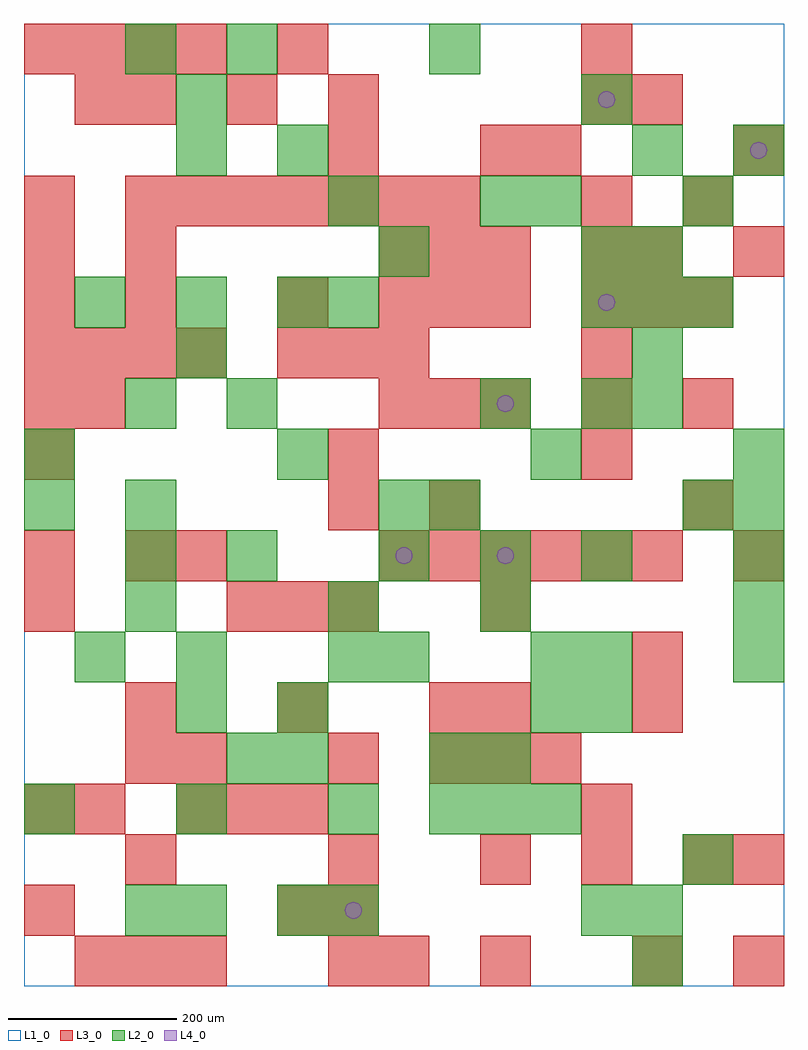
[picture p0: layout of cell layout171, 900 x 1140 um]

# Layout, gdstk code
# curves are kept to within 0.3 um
import gdstk
lib = gdstk.Library(unit=1e-6, precision=1e-09)
def R(c, l, rs):  # rectangles x0, y0, x1, y1
    for r in rs: c.add(gdstk.rectangle(r[:2], r[2:], *l))
def A(c, l, x, y, w, h, nx, ny, dx, dy):  # array of equal rectangles
    R(c, l, [(x+i*dx, y+j*dy, x+i*dx+w, y+j*dy+h) for i in range(nx) for j in range(ny)])
def P(c, l, *ps):  # polygons
    for p in ps: c.add(gdstk.Polygon(p, *l))
L1_0 = (1, 0)
L2_0 = (2, 0)
L3_0 = (3, 0)
L4_0 = (4, 0)

layout171 = lib.new_cell('layout171')
R(layout171, L1_0, [(0,0,900,1140)])
A(layout171, L2_0, 0, 180, 60, 60, 3, 1, 180, 0)
A(layout171, L2_0, 480, 180, 60, 60, 3, 1, 60, 0)
A(layout171, L2_0, 840, 360, 60, 60, 1, 5, 0, 60)
A(layout171, L2_0, 120, 420, 60, 60, 1, 3, 0, 60)
A(layout171, L2_0, 540, 420, 60, 60, 1, 3, 0, 240)
A(layout171, L2_0, 420, 480, 60, 60, 3, 1, 120, 0)
A(layout171, L2_0, 0, 600, 60, 60, 3, 1, 300, 0)
A(layout171, L2_0, 660, 660, 60, 60, 1, 3, 0, 180)
A(layout171, L2_0, 720, 720, 60, 60, 1, 3, 0, 120)
A(layout171, L2_0, 60, 780, 60, 60, 3, 1, 120, 0)
A(layout171, L2_0, 660, 780, 60, 60, 3, 1, 60, 0)
R(layout171, L2_0, [(720,0,780,60), (120,60,180,120), (180,60,240,120), (300,60,360,120), (360,60,420,120), (660,60,720,120), (720,60,780,120), (780,120,840,180), (240,240,300,300), (300,240,360,300), (480,240,540,300), (540,240,600,300), (180,300,240,360), (300,300,360,360), (600,300,660,360), (660,300,720,360), (60,360,120,420), (180,360,240,420), (360,360,420,420), (420,360,480,420), (600,360,660,420), (660,360,720,420), (360,420,420,480), (240,480,300,540), (0,540,60,600), (420,540,480,600), (480,540,540,600), (780,540,840,600), (120,660,180,720), (240,660,300,720), (720,660,780,720), (180,720,240,780), (360,780,420,840), (420,840,480,900), (360,900,420,960), (600,900,660,960), (780,900,840,960), (180,960,240,1020), (300,960,360,1020), (840,960,900,1020), (180,1020,240,1080), (120,1080,180,1140), (240,1080,300,1140), (480,1080,540,1140)])
A(layout171, L3_0, 60, 0, 60, 60, 3, 1, 60, 0)
A(layout171, L3_0, 360, 0, 60, 60, 1, 3, 0, 60)
A(layout171, L3_0, 540, 120, 60, 60, 3, 1, 120, 0)
A(layout171, L3_0, 840, 120, 60, 60, 1, 3, 0, 360)
A(layout171, L3_0, 180, 180, 60, 60, 3, 1, 60, 0)
A(layout171, L3_0, 480, 240, 60, 60, 3, 1, 60, 0)
A(layout171, L3_0, 120, 300, 60, 60, 3, 1, 180, 0)
A(layout171, L3_0, 240, 420, 60, 60, 3, 1, 60, 0)
A(layout171, L3_0, 420, 480, 60, 60, 6, 1, 60, 0)
A(layout171, L3_0, 660, 600, 60, 60, 1, 3, 0, 60)
A(layout171, L3_0, 420, 660, 60, 60, 3, 2, 60, 120)
A(layout171, L3_0, 0, 720, 60, 60, 4, 2, 60, 360)
A(layout171, L3_0, 300, 720, 60, 60, 3, 1, 60, 0)
A(layout171, L3_0, 0, 780, 60, 60, 1, 3, 0, 60)
A(layout171, L3_0, 660, 780, 60, 60, 3, 1, 60, 0)
A(layout171, L3_0, 420, 840, 60, 60, 3, 1, 60, 0)
A(layout171, L3_0, 120, 900, 60, 60, 7, 1, 60, 0)
A(layout171, L3_0, 120, 1020, 60, 60, 3, 1, 120, 0)
R(layout171, L3_0, [(420,0,480,60), (540,0,600,60), (720,0,780,60), (840,0,900,60), (0,60,60,120), (300,60,360,120), (120,120,180,180), (0,180,60,240), (60,180,120,240), (660,180,720,240), (120,240,180,300), (180,240,240,300), (360,240,420,300), (540,300,600,360), (720,300,780,360), (720,360,780,420), (0,420,60,480), (540,420,600,480), (0,480,60,540), (120,480,180,540), (180,480,240,540), (360,540,420,600), (480,540,540,600), (780,540,840,600), (0,600,60,660), (360,600,420,660), (0,660,60,720), (60,660,120,720), (780,660,840,720), (120,780,180,840), (300,780,360,840), (120,840,180,900), (660,840,720,900), (720,840,780,900), (660,900,720,960), (780,900,840,960), (360,960,420,1020), (540,960,600,1020), (600,960,660,1020), (840,960,900,1020), (60,1020,120,1080), (660,1020,720,1080), (720,1020,780,1080), (300,1080,360,1140), (660,1080,720,1140)])
P(layout171, L4_0, [(400,90),(399.239,93.827),(397.071,97.071),(393.827,99.239),(390,100),(386.173,99.239),(382.929,97.071),(380.761,93.827),(380,90),(380.761,86.173),(382.929,82.929),(386.173,80.761),(390,80),(393.827,80.761),(397.071,82.929),(399.239,86.173)],
  [(460,510),(459.239,513.827),(457.071,517.071),(453.827,519.239),(450,520),(446.173,519.239),(442.929,517.071),(440.761,513.827),(440,510),(440.761,506.173),(442.929,502.929),(446.173,500.761),(450,500),(453.827,500.761),(457.071,502.929),(459.239,506.173)],
  [(580,510),(579.239,513.827),(577.071,517.071),(573.827,519.239),(570,520),(566.173,519.239),(562.929,517.071),(560.761,513.827),(560,510),(560.761,506.173),(562.929,502.929),(566.173,500.761),(570,500),(573.827,500.761),(577.071,502.929),(579.239,506.173)],
  [(580,690),(579.239,693.827),(577.071,697.071),(573.827,699.239),(570,700),(566.173,699.239),(562.929,697.071),(560.761,693.827),(560,690),(560.761,686.173),(562.929,682.929),(566.173,680.761),(570,680),(573.827,680.761),(577.071,682.929),(579.239,686.173)],
  [(700,810),(699.239,813.827),(697.071,817.071),(693.827,819.239),(690,820),(686.173,819.239),(682.929,817.071),(680.761,813.827),(680,810),(680.761,806.173),(682.929,802.929),(686.173,800.761),(690,800),(693.827,800.761),(697.071,802.929),(699.239,806.173)],
  [(700,1050),(699.239,1053.827),(697.071,1057.071),(693.827,1059.239),(690,1060),(686.173,1059.239),(682.929,1057.071),(680.761,1053.827),(680,1050),(680.761,1046.173),(682.929,1042.929),(686.173,1040.761),(690,1040),(693.827,1040.761),(697.071,1042.929),(699.239,1046.173)],
  [(880,990),(879.239,993.827),(877.071,997.071),(873.827,999.239),(870,1000),(866.173,999.239),(862.929,997.071),(860.761,993.827),(860,990),(860.761,986.173),(862.929,982.929),(866.173,980.761),(870,980),(873.827,980.761),(877.071,982.929),(879.239,986.173)])

lib.write_gds('layout171.gds')
